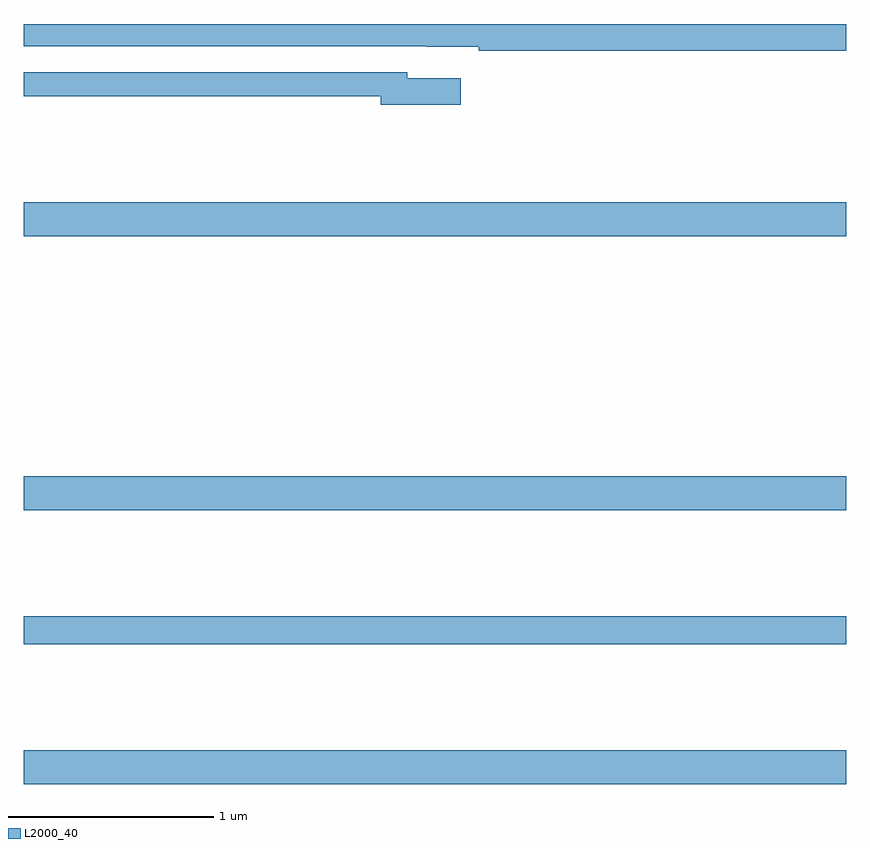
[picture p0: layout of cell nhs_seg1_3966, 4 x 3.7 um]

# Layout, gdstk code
import gdstk
lib = gdstk.Library(unit=1e-6, precision=1e-09)
def R(c, l, rs):  # rectangles x0, y0, x1, y1
    for r in rs: c.add(gdstk.rectangle(r[:2], r[2:], *l))
def A(c, l, x, y, w, h, nx, ny, dx, dy):  # array of equal rectangles
    R(c, l, [(x+i*dx, y+j*dy, x+i*dx+w, y+j*dy+h) for i in range(nx) for j in range(ny)])
def P(c, l, *ps):  # polygons
    for p in ps: c.add(gdstk.Polygon(p, *l))
L2000_40 = (2000, 40)

nhs_seg1_3966 = lib.new_cell('nhs_seg1_3966')
A(nhs_seg1_3966, L2000_40, 327, 546.404, 4, 0.164, 1, 3, 0, 1.332)
R(nhs_seg1_3966, L2000_40, [(327,547.084,331,547.22)])
P(nhs_seg1_3966, L2000_40, [(331,550.099),(327,550.099),(327,549.99),(328.96,549.99),(328.96,549.989),(329.212,549.989),(329.212,549.97),(331,549.97)],
  [(329.125,549.835),(328.864,549.835),(328.864,549.864),(327,549.864),(327,549.748),(328.736,549.748),(328.736,549.706),(329.125,549.706)])

lib.write_gds('nhs_seg1_3966.gds')
